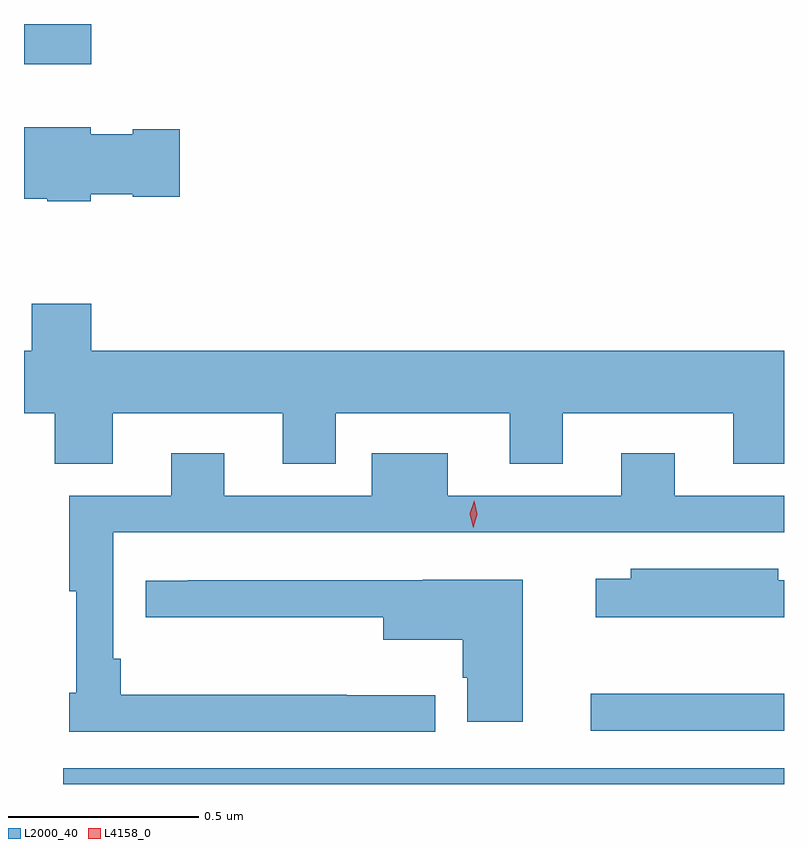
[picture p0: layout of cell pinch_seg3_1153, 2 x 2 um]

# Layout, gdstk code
import gdstk
lib = gdstk.Library(unit=1e-6, precision=1e-09)
def R(c, l, rs):  # rectangles x0, y0, x1, y1
    for r in rs: c.add(gdstk.rectangle(r[:2], r[2:], *l))
def P(c, l, *ps):  # polygons
    for p in ps: c.add(gdstk.Polygon(p, *l))
L2000_40 = (2000, 40)
L4158_0 = (4158, 0)

pinch_seg3_1153 = lib.new_cell('pinch_seg3_1153')
R(pinch_seg3_1153, L2000_40, [(126.114,741.232,128.011,741.273), (127.503,741.372,128.011,741.47), (126.011,743.126,126.188,743.232)])
P(pinch_seg3_1153, L2000_40, [(126.186,742.784),(126.297,742.784),(126.297,742.777),(126.421,742.777),(126.421,742.955),(126.297,742.955),(126.297,742.942),(126.186,742.942),(126.186,742.96),(126.011,742.96),(126.011,742.772),(126.072,742.772),(126.072,742.766),(126.186,742.766)],
  [(126.244,742.208),(126.692,742.208),(126.692,742.075),(126.832,742.075),(126.832,742.208),(127.289,742.208),(127.289,742.075),(127.429,742.075),(127.429,742.208),(127.877,742.208),(127.877,742.075),(128.011,742.075),(128.011,742.372),(126.188,742.372),(126.188,742.496),(126.031,742.496),(126.031,742.372),(126.011,742.372),(126.011,742.208),(126.092,742.208),(126.092,742.075),(126.244,742.075)],
  [(127.093,741.466),(126.86,741.466),(126.86,741.467),(126.266,741.467),(126.266,741.562),(126.246,741.562),(126.246,741.894),(128.011,741.894),(128.011,741.99),(127.723,741.99),(127.723,742.102),(127.583,742.102),(127.583,741.99),(127.126,741.99),(127.126,742.102),(126.926,742.102),(126.926,741.99),(126.538,741.99),(126.538,742.102),(126.398,742.102),(126.398,741.99),(126.13,741.99),(126.13,741.739),(126.149,741.739),(126.149,741.472),(126.13,741.472),(126.13,741.369),(127.093,741.369)],
  [(128.011,741.768),(127.996,741.768),(127.996,741.799),(127.608,741.799),(127.608,741.772),(127.515,741.772),(127.515,741.671),(128.011,741.671)],
  [(127.324,741.769),(127.06,741.769),(127.06,741.768),(126.442,741.768),(126.442,741.767),(126.331,741.767),(126.331,741.671),(126.956,741.671),(126.956,741.611),(127.166,741.611),(127.166,741.512),(127.178,741.512),(127.178,741.396),(127.324,741.396)])
P(pinch_seg3_1153, L4158_0, [(127.193,741.907),(127.193,741.907),(127.184,741.943),(127.196,741.978),(127.196,741.978),(127.196,741.978),(127.204,741.942),(127.193,741.907)])

lib.write_gds('pinch_seg3_1153.gds')
